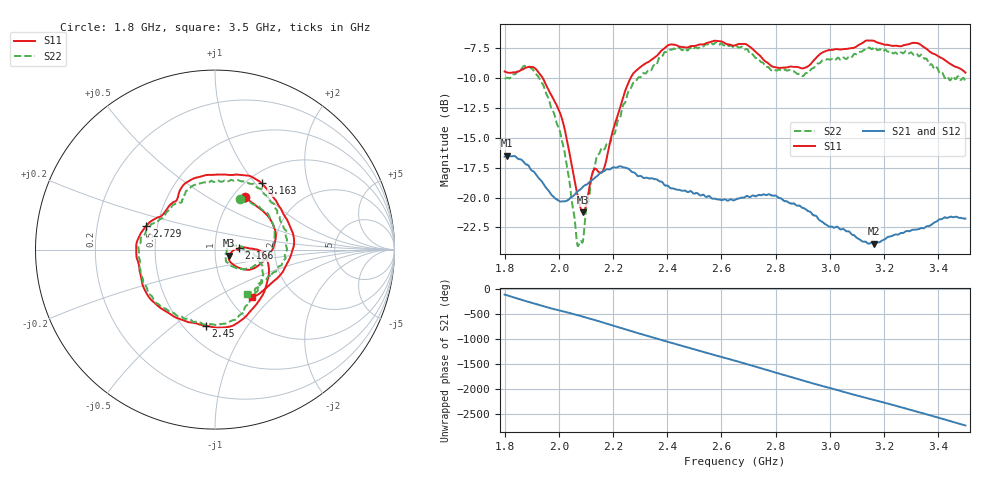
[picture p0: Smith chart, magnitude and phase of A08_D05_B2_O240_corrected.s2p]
! Created with skrf 1.9.0 (http://scikit-rf.org).
# Hz S RI R 50.0
!freq ReS11 ImS11 ReS21 ImS21 ReS12 ImS12 ReS22 ImS22
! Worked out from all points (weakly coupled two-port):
!   1601 points, 1.8 GHz to 3.5 GHz, reference 50 ohm
!   highest |S21| = -16.50 dB at 1.81 GHz (marker M1); lowest = -23.9 dB at 3.161 GHz (marker M2)
!   lowest |S11| = -21.2 dB at 2.089 GHz (marker M3), VSWR 1.19, Z = 58.5 - j3.97 ohm
!   |S11| at or under -10 dB: 1.941 GHz to 2.265 GHz (323.8 MHz wide, 15.4 % of centre)
!   |S22| runs from -24.1 to -7.0 dB; largest |S21 - S12| = 0.0027
!   S11 on the Smith chart (normalised r, x): 1.8 GHz: 1.13, +0.75; 2.166 GHz: 1.30, +0.02; 2.45 GHz: 0.63, -0.66; 2.729 GHz: 0.43, +0.14; 3.163 GHz: 1.17, +1.08; 3.5 GHz: 1.26, -0.75
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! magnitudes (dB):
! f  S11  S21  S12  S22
! 1.8 GHz  -9.5  -16.6  -16.6  -10.1
! 1.81 GHz  -9.5  -16.5  -16.5  -10.0
! 1.881 GHz  -9.1  -17.2  -17.2  -9.0
! 1.942 GHz  -10.1  -18.8  -18.8  -10.6
! 2.013 GHz  -13.5  -20.3  -20.3  -15.4
! 2.067 GHz  -19.6  -19.5  -19.6  -23.8
! 2.084 GHz  -21.1  -19.2  -19.2  -23.7
! 2.089 GHz  -21.2  -19.1  -19.1  -23.6
! 2.127 GHz  -17.8  -18.5  -18.5  -17.8
! 2.166 GHz  -17.6  -17.8  -17.8  -16.0
! 2.262 GHz  -10.1  -17.7  -17.7  -11.0
! 2.367 GHz  -8.0  -18.6  -18.5  -8.4
! 2.45 GHz  -7.4  -19.4  -19.4  -7.6
! 2.65 GHz  -7.3  -20.2  -20.2  -7.4
! 2.729 GHz  -7.9  -19.9  -19.9  -8.3
! 2.805 GHz  -9.1  -19.9  -19.9  -9.4
! 2.934 GHz  -8.7  -21.4  -21.3  -9.2
! 3.161 GHz  -6.9  -23.9  -23.8  -7.5
! 3.163 GHz  -6.9  -23.9  -23.8  -7.4
! 3.217 GHz  -7.2  -23.3  -23.3  -7.8
! 3.326 GHz  -7.1  -22.7  -22.6  -8.1
! 3.5 GHz  -9.5  -21.8  -21.8  -10.3
